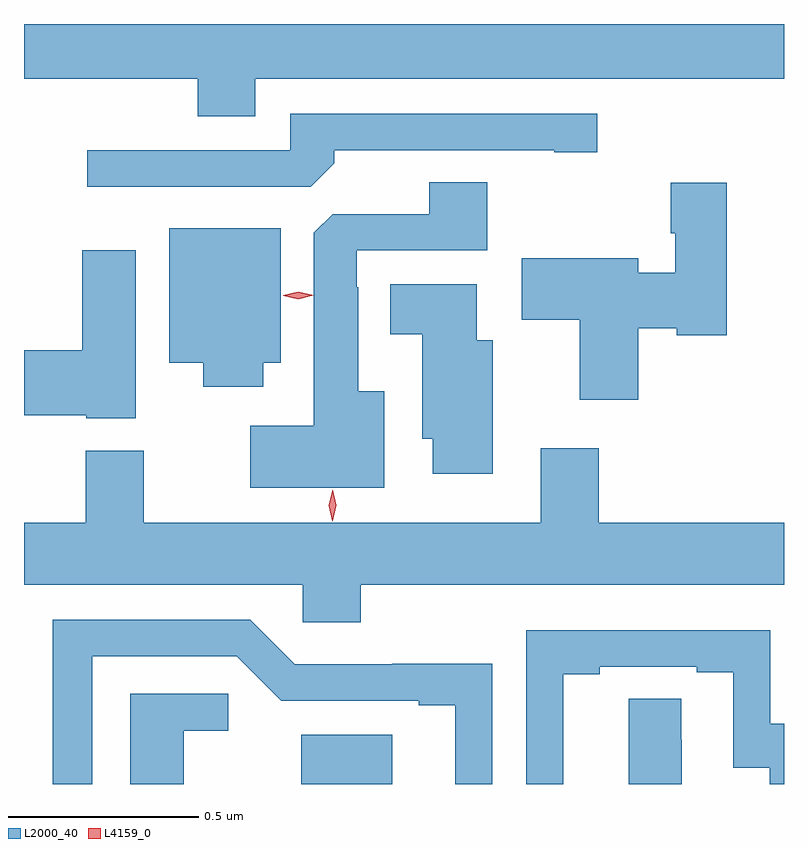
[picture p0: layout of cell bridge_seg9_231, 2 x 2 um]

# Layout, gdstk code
import gdstk
lib = gdstk.Library(unit=1e-6, precision=1e-09)
def R(c, l, rs):  # rectangles x0, y0, x1, y1
    for r in rs: c.add(gdstk.rectangle(r[:2], r[2:], *l))
def P(c, l, *ps):  # polygons
    for p in ps: c.add(gdstk.Polygon(p, *l))
L2000_40 = (2000, 40)
L4159_0 = (4159, 0)

bridge_seg9_231 = lib.new_cell('bridge_seg9_231')
R(bridge_seg9_231, L2000_40, [(144.842,1217.208,145.081,1217.338)])
P(bridge_seg9_231, L2000_40, [(144.721,1219.064),(146.112,1219.064),(146.112,1219.208),(144.112,1219.208),(144.112,1219.064),(144.569,1219.064),(144.569,1218.965),(144.721,1218.965)],
  [(144.929,1218.842),(144.929,1218.876),(145.508,1218.876),(145.508,1218.871),(145.621,1218.871),(145.621,1218.972),(144.813,1218.972),(144.813,1218.876),(144.279,1218.876),(144.279,1218.78),(144.867,1218.78)],
  [(145.06,1218.241),(144.991,1218.241),(144.991,1218.515),(144.987,1218.515),(144.987,1218.612),(145.331,1218.612),(145.331,1218.791),(145.178,1218.791),(145.178,1218.708),(144.924,1218.708),(144.875,1218.659),(144.875,1218.151),(144.708,1218.151),(144.708,1217.987),(145.06,1217.987)],
  [(145.729,1218.407),(145.83,1218.407),(145.83,1218.389),(145.961,1218.389),(145.961,1218.79),(145.814,1218.79),(145.814,1218.657),(145.826,1218.657),(145.826,1218.554),(145.729,1218.554),(145.729,1218.592),(145.422,1218.592),(145.422,1218.43),(145.574,1218.43),(145.574,1218.219),(145.729,1218.219)],
  [(144.742,1218.317),(144.787,1218.317),(144.787,1218.67),(144.494,1218.67),(144.494,1218.317),(144.584,1218.317),(144.584,1218.254),(144.742,1218.254)],
  [(144.406,1218.613),(144.265,1218.613),(144.265,1218.35),(144.112,1218.35),(144.112,1218.179),(144.276,1218.179),(144.276,1218.17),(144.406,1218.17)],
  [(145.345,1218.376),(145.303,1218.376),(145.303,1218.523),(145.076,1218.523),(145.076,1218.392),(145.16,1218.392),(145.16,1218.117),(145.187,1218.117),(145.187,1218.024),(145.345,1218.024)],
  [(144.998,1217.732),(146.112,1217.732),(146.112,1217.896),(145.625,1217.896),(145.625,1218.091),(145.472,1218.091),(145.472,1217.896),(144.427,1217.896),(144.427,1218.085),(144.275,1218.085),(144.275,1217.896),(144.112,1217.896),(144.112,1217.732),(144.846,1217.732),(144.846,1217.634),(144.998,1217.634)],
  [(144.292,1217.544),(144.672,1217.544),(144.789,1217.427),(145.151,1217.427),(145.151,1217.415),(145.247,1217.415),(145.247,1217.208),(145.344,1217.208),(145.344,1217.525),(145.081,1217.525),(145.081,1217.523),(144.825,1217.523),(144.708,1217.64),(144.188,1217.64),(144.188,1217.208),(144.292,1217.208)],
  [(145.531,1217.497),(145.627,1217.497),(145.627,1217.517),(145.883,1217.517),(145.883,1217.502),(145.979,1217.502),(145.979,1217.251),(146.074,1217.251),(146.074,1217.208),(146.112,1217.208),(146.112,1217.367),(146.076,1217.367),(146.076,1217.613),(145.434,1217.613),(145.434,1217.208),(145.531,1217.208)],
  [(144.532,1217.348),(144.649,1217.348),(144.649,1217.445),(144.392,1217.445),(144.392,1217.208),(144.532,1217.208)],
  [(145.843,1217.324),(145.842,1217.324),(145.842,1217.432),(145.703,1217.432),(145.703,1217.208),(145.843,1217.208)])
P(bridge_seg9_231, L4159_0, [(144.924,1217.9),(144.923,1217.901),(144.914,1217.941),(144.924,1217.982),(144.924,1217.982),(144.924,1217.982),(144.934,1217.941),(144.924,1217.901)],
  [(144.834,1218.484),(144.794,1218.493),(144.794,1218.494),(144.794,1218.494),(144.834,1218.504),(144.875,1218.494),(144.875,1218.494),(144.875,1218.494)])

lib.write_gds('bridge_seg9_231.gds')
